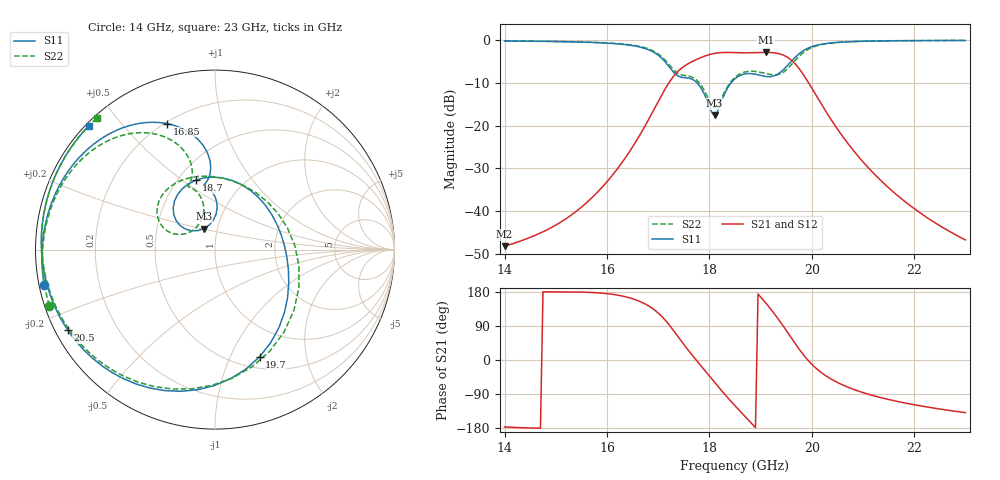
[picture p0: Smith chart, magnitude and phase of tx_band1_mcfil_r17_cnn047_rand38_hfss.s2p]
! Touchstone file exported from HFSS 3D Layout Design 2026.1.0
!  File:  D:/Work/SIM/ADS_AUTO_SIM/projects/RFSOC_RF/TX_Fillter.aedt
!  Generated:  12:59:11 AM Aug 31, 2026
!  Design:  TX_BAND1_MCFIL_R17_CNN047
!  Project:  TX_Fillter
# GHz S MA R 50.000000
! Terminal data exported
! Port[1] = Port1
! Port[2] = Port2
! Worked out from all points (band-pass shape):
!   181 points, 14 GHz to 23 GHz, reference 50 ohm
!   highest |S21| = -2.91 dB at 19.1 GHz (marker M1); lowest = -48.2 dB at 14 GHz (marker M2)
!   |S21| within 3 dB of the highest: 17.54 GHz to 19.7 GHz (2.161 GHz wide, 11.6 % of centre)
!   lowest |S11| = -17.6 dB at 18.1 GHz (marker M3), VSWR 1.30, Z = 43.1 + j10.3 ohm
!   |S11| at or under -10 dB: 17.76 GHz to 18.43 GHz (670.3 MHz wide, 3.71 % of centre)
!   |S22| runs from -15.9 to -0.1 dB; largest |S21 - S12| = 1.3e-14
!   S11 on the Smith chart (normalised r, x): 14 GHz: 0.01, -0.10; 16.85 GHz: 0.21, +0.67; 18.7 GHz: 0.61, +0.56; 19.7 GHz: 0.63, -1.30; 20.5 GHz: 0.04, -0.25; 23 GHz: 0.01, +0.41
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14  0.9716 -168.4  0.003907 -176.7  0.003907 -176.7  0.9738 -161.3
15.5  0.9421 160.6  0.01115 179.0  0.01115 179.0  0.9471 168.7
16.25  0.8937 138.4  0.0341 170.1  0.0341 170.1  0.9028 147.7
16.85  0.7502 110.7  0.1293 139.5  0.1293 139.5  0.7682 121.9
17  0.6627 101.8  0.1904 123.9  0.1904 123.9  0.6847 113.8
17.2  0.4974 93.2  0.3089 95.1  0.3089 95.1  0.525 105.8
17.45  0.3666 99.7  0.4647 50.1  0.4647 50.1  0.3907 111.8
17.8  0.2952 90.0  0.6095 -9.6  0.6095 -9.6  0.3162 105.8
18.1  0.1322 117.8  0.6962 -58.7  0.6962 -58.7  0.1611 130.7
18.3  0.237 145.3  0.714 -90.7  0.714 -90.7  0.2496 159.2
18.5  0.3524 129.8  0.71 -120.7  0.71 -120.7  0.3653 150.9
18.7  0.4015 105.3  0.7063 -149.3  0.7063 -149.3  0.4228 134.1
19.1  0.3741 41.2  0.7152 150.6  0.7152 150.6  0.4051 89.6
19.4  0.4245 -15.5  0.6787 97.7  0.6787 97.7  0.4047 30.0
19.55  0.5216 -42.1  0.6124 68.3  0.6124 68.3  0.4764 -11.0
19.7  0.6463 -67.3  0.5052 38.5  0.5052 38.5  0.5994 -50.1
19.85  0.7572 -90.2  0.3816 11.4  0.3816 11.4  0.7228 -82.4
20  0.8338 -109.6  0.2735 -11.2  0.2735 -11.2  0.8129 -107.2
20.25  0.9027 -134.0  0.1544 -39.3  0.1544 -39.3  0.8956 -136.0
20.5  0.9352 -151.5  0.09109 -59.3  0.09109 -59.3  0.9338 -155.3
21.5  0.9749 168.2  0.01879 -104.2  0.01879 -104.2  0.9762 163.6
23  0.9847 135.5  0.004621 -139.0  0.004621 -139.0  0.985 131.7
